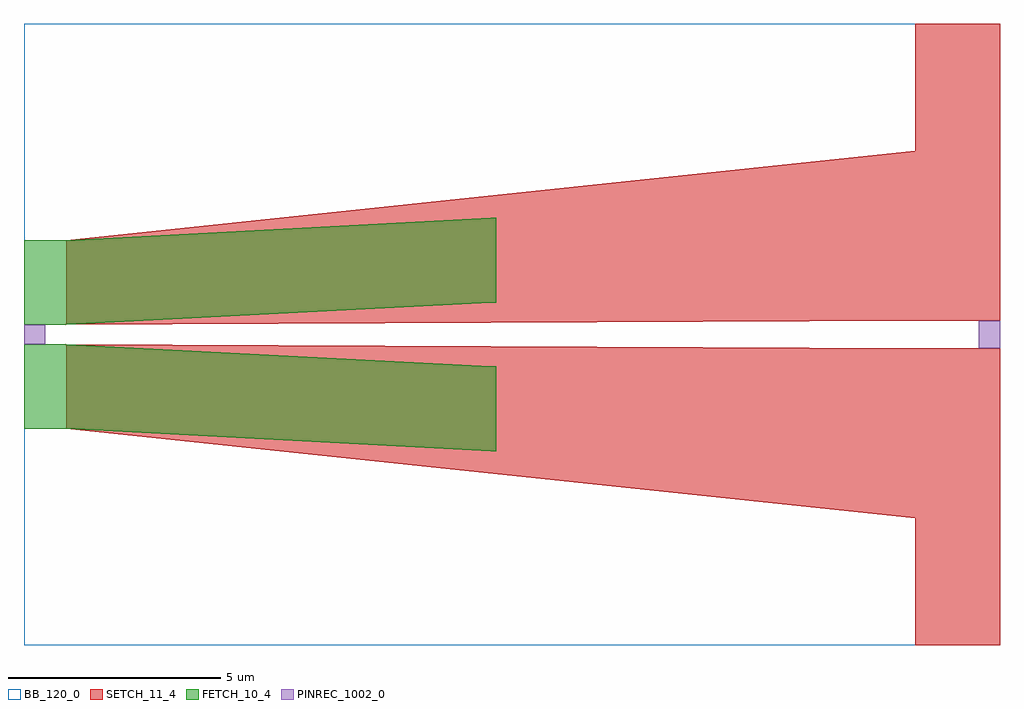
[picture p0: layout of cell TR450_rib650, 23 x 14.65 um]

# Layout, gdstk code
import gdstk
lib = gdstk.Library(unit=1e-6, precision=1e-09)
def R(c, l, rs):  # rectangles x0, y0, x1, y1
    for r in rs: c.add(gdstk.rectangle(r[:2], r[2:], *l))
def P(c, l, *ps):  # polygons
    for p in ps: c.add(gdstk.Polygon(p, *l))
FETCH_10_4 = (10, 4)
SETCH_11_4 = (11, 4)
BB_120_0 = (120, 0)
PINREC_1002_0 = (1002, 0)

tr450_rib650 = lib.new_cell('TR450_rib650')
R(tr450_rib650, FETCH_10_4, [(0,5.1,0.5,7.1), (0,7.55,0.5,9.55)])
P(tr450_rib650, FETCH_10_4, [(1,7.1),(11,6.575),(11.13,6.575),(11.13,4.575),(11,4.575),(1,5.1),(0.5,5.1),(0.5,7.1)],
  [(1,9.55),(11,10.075),(11.13,10.075),(11.13,8.075),(11,8.075),(1,7.55),(0.5,7.55),(0.5,9.55)])
R(tr450_rib650, SETCH_11_4, [(22.5,0,23,7), (22.5,7.65,23,14.65)])
P(tr450_rib650, SETCH_11_4, [(1,5.1),(21,3),(21,0),(22.5,0),(22.5,7),(21,7),(1,7.1)],
  [(1,7.55),(21,7.65),(22.5,7.65),(22.5,14.65),(21,14.65),(21,11.65),(1,9.55)])
R(tr450_rib650, BB_120_0, [(0,0,23,14.65)])
R(tr450_rib650, PINREC_1002_0, [(22.5,7,23,7.65), (0,7.1,0.5,7.55)])

lib.write_gds('TR450_rib650.gds')
